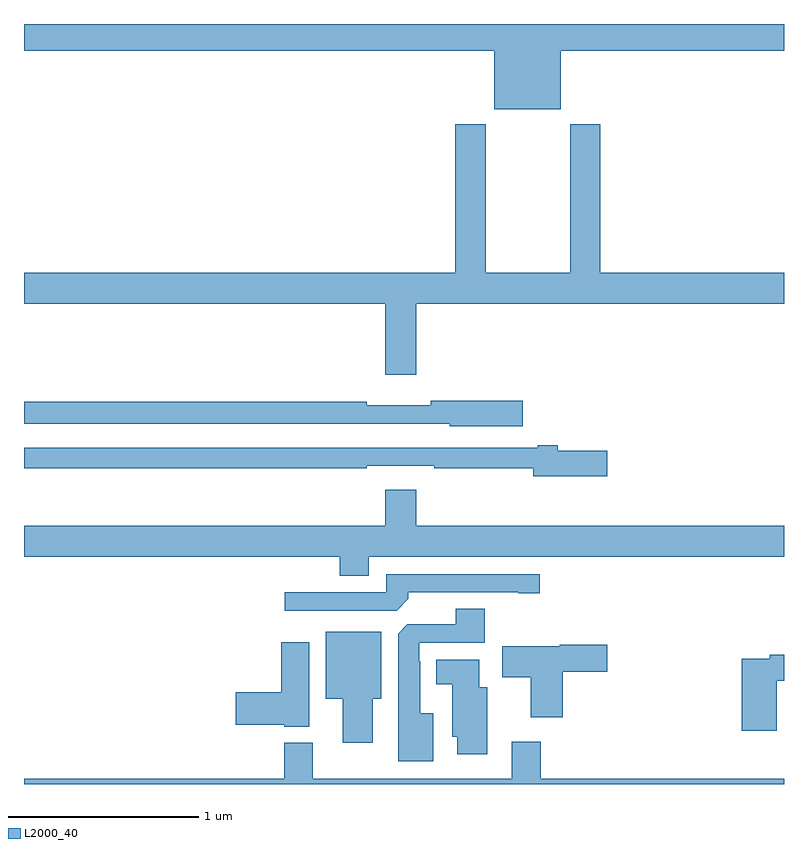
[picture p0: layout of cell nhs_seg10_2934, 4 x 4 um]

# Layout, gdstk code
import gdstk
lib = gdstk.Library(unit=1e-6, precision=1e-09)
def P(c, l, *ps):  # polygons
    for p in ps: c.add(gdstk.Polygon(p, *l))
L2000_40 = (2000, 40)

nhs_seg10_2934 = lib.new_cell('nhs_seg10_2934')
P(nhs_seg10_2934, L2000_40, [(273.826,1256.36),(275,1256.36),(275,1256.5),(271,1256.5),(271,1256.36),(273.476,1256.36),(273.476,1256.051),(273.826,1256.051)],
  [(273.064,1255.028),(275,1255.028),(275,1255.192),(274.034,1255.192),(274.034,1255.972),(273.874,1255.972),(273.874,1255.192),(273.429,1255.192),(273.429,1255.972),(273.269,1255.972),(273.269,1255.192),(271,1255.192),(271,1255.028),(272.9,1255.028),(272.9,1254.654),(273.064,1254.654)],
  [(273.625,1254.518),(273.14,1254.518),(273.14,1254.493),(272.804,1254.493),(272.804,1254.512),(271,1254.512),(271,1254.396),(273.24,1254.396),(273.24,1254.383),(273.625,1254.383)],
  [(274.069,1254.254),(273.808,1254.254),(273.808,1254.283),(273.704,1254.283),(273.704,1254.27),(271,1254.27),(271,1254.162),(272.804,1254.162),(272.804,1254.174),(273.16,1254.174),(273.16,1254.162),(273.68,1254.162),(273.68,1254.119),(274.069,1254.119)],
  [(272.815,1253.696),(275,1253.696),(275,1253.86),(273.064,1253.86),(273.064,1254.049),(272.9,1254.049),(272.9,1253.86),(271,1253.86),(271,1253.696),(272.663,1253.696),(272.663,1253.597),(272.815,1253.597)],
  [(273.023,1253.474),(273.023,1253.508),(273.602,1253.508),(273.602,1253.503),(273.715,1253.503),(273.715,1253.604),(272.907,1253.604),(272.907,1253.508),(272.373,1253.508),(272.373,1253.412),(272.961,1253.412)],
  [(273.154,1252.873),(273.085,1252.873),(273.085,1253.147),(273.081,1253.147),(273.081,1253.244),(273.425,1253.244),(273.425,1253.423),(273.272,1253.423),(273.272,1253.34),(273.018,1253.34),(272.969,1253.291),(272.969,1252.619),(273.154,1252.619)],
  [(272.836,1252.949),(272.881,1252.949),(272.881,1253.302),(272.588,1253.302),(272.588,1252.949),(272.678,1252.949),(272.678,1252.716),(272.836,1252.716)],
  [(272.5,1253.245),(272.354,1253.245),(272.354,1252.982),(272.115,1252.982),(272.115,1252.811),(272.37,1252.811),(272.37,1252.802),(272.5,1252.802)],
  [(273.836,1253.09),(274.069,1253.09),(274.069,1253.232),(273.819,1253.232),(273.819,1253.224),(273.516,1253.224),(273.516,1253.062),(273.668,1253.062),(273.668,1252.851),(273.836,1252.851)],
  [(274.961,1253.044),(275,1253.044),(275,1253.18),(274.924,1253.18),(274.924,1253.16),(274.778,1253.16),(274.778,1252.779),(274.961,1252.779)],
  [(273.439,1253.008),(273.397,1253.008),(273.397,1253.155),(273.17,1253.155),(273.17,1253.024),(273.254,1253.024),(273.254,1252.749),(273.281,1252.749),(273.281,1252.656),(273.439,1252.656)],
  [(275,1252.528),(273.719,1252.528),(273.719,1252.723),(273.566,1252.723),(273.566,1252.528),(272.521,1252.528),(272.521,1252.717),(272.369,1252.717),(272.369,1252.528),(271,1252.528),(271,1252.5),(275,1252.5)])

lib.write_gds('nhs_seg10_2934.gds')
